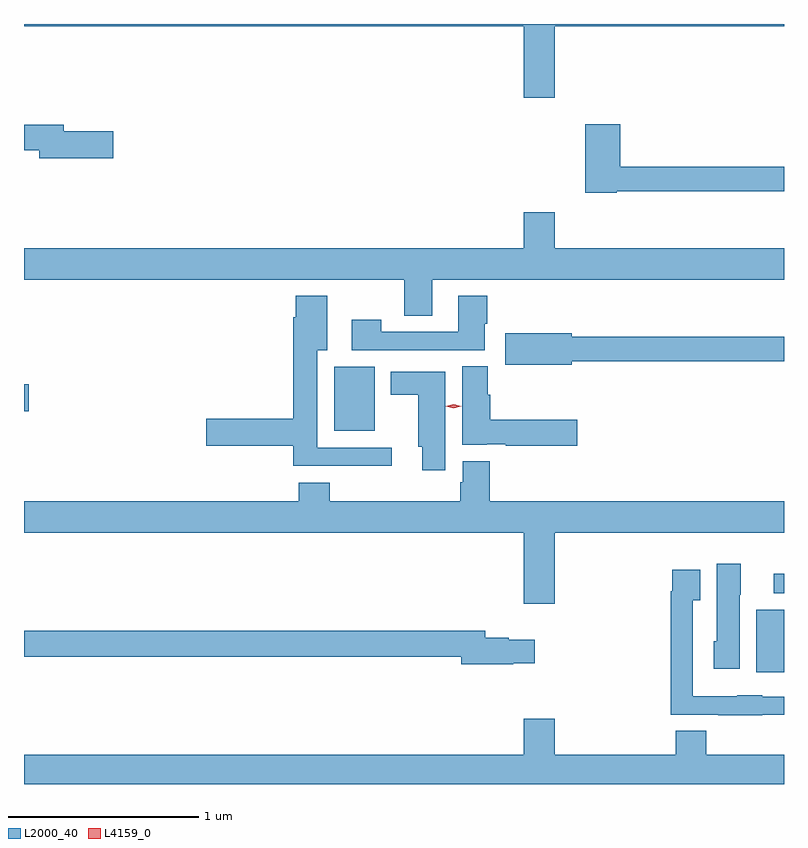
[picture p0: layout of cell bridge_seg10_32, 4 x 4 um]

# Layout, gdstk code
import gdstk
lib = gdstk.Library(unit=1e-6, precision=1e-09)
def R(c, l, rs):  # rectangles x0, y0, x1, y1
    for r in rs: c.add(gdstk.rectangle(r[:2], r[2:], *l))
def P(c, l, *ps):  # polygons
    for p in ps: c.add(gdstk.Polygon(p, *l))
L2000_40 = (2000, 40)
L4159_0 = (4159, 0)

bridge_seg10_32 = lib.new_cell('bridge_seg10_32')
R(bridge_seg10_32, L2000_40, [(945.452,1259.622,945.598,1259.949), (945.543,1260.036,945.598,1260.139), (943.232,1260.893,943.444,1261.228), (941.598,1260.994,941.623,1261.136)])
P(bridge_seg10_32, L2000_40, [(944.392,1263.02),(945.598,1263.02),(945.598,1263.033),(941.598,1263.033),(941.598,1263.02),(944.228,1263.02),(944.228,1262.646),(944.392,1262.646)],
  [(944.718,1262.154),(945.598,1262.154),(945.598,1262.282),(944.735,1262.282),(944.735,1262.506),(944.552,1262.506),(944.552,1262.146),(944.718,1262.146)],
  [(942.067,1262.468),(941.806,1262.468),(941.806,1262.504),(941.598,1262.504),(941.598,1262.368),(941.678,1262.368),(941.678,1262.326),(942.067,1262.326)],
  [(943.747,1261.688),(945.598,1261.688),(945.598,1261.852),(944.392,1261.852),(944.392,1262.041),(944.228,1262.041),(944.228,1261.852),(941.598,1261.852),(941.598,1261.688),(943.6,1261.688),(943.6,1261.498),(943.747,1261.498)],
  [(943.534,1260.804),(943.141,1260.804),(943.141,1261.316),(943.195,1261.316),(943.195,1261.603),(943.028,1261.603),(943.028,1261.49),(943.016,1261.49),(943.016,1260.956),(942.558,1260.956),(942.558,1260.814),(943.016,1260.814),(943.016,1260.707),(943.534,1260.707)],
  [(944.023,1261.455),(944.036,1261.455),(944.036,1261.603),(943.883,1261.603),(943.883,1261.413),(943.479,1261.413),(943.479,1261.477),(943.323,1261.477),(943.323,1261.317),(944.023,1261.317)],
  [(944.482,1261.258),(945.598,1261.258),(945.598,1261.387),(944.482,1261.387),(944.482,1261.405),(944.13,1261.405),(944.13,1261.24),(944.482,1261.24)],
  [(944.509,1260.951),(944.051,1260.951),(944.051,1261.082),(944.038,1261.082),(944.038,1261.232),(943.904,1261.232),(943.904,1260.818),(944.034,1260.818),(944.034,1260.821),(944.134,1260.821),(944.134,1260.814),(944.509,1260.814)],
  [(943.816,1261.204),(943.529,1261.204),(943.529,1261.082),(943.673,1261.082),(943.673,1260.807),(943.694,1260.807),(943.694,1260.684),(943.816,1260.684)],
  [(944.392,1260.356),(945.598,1260.356),(945.598,1260.52),(944.048,1260.52),(944.048,1260.733),(943.907,1260.733),(943.907,1260.621),(943.895,1260.621),(943.895,1260.52),(943.208,1260.52),(943.208,1260.619),(943.043,1260.619),(943.043,1260.52),(941.598,1260.52),(941.598,1260.356),(944.228,1260.356),(944.228,1259.982),(944.392,1259.982)],
  [(945.364,1260.03),(945.37,1260.03),(945.37,1260.193),(945.245,1260.193),(945.245,1259.784),(945.227,1259.784),(945.227,1259.64),(945.364,1259.64)],
  [(945.483,1259.397),(945.598,1259.397),(945.598,1259.493),(945.483,1259.493),(945.483,1259.5),(945.351,1259.5),(945.351,1259.494),(945.117,1259.494),(945.117,1259.999),(945.157,1259.999),(945.157,1260.16),(945.009,1260.16),(945.009,1260.047),(945.001,1260.047),(945.001,1259.397),(945.251,1259.397),(945.251,1259.396),(945.483,1259.396)],
  [(944.174,1259.669),(944.287,1259.669),(944.287,1259.791),(944.148,1259.791),(944.148,1259.804),(944.026,1259.804),(944.026,1259.84),(941.598,1259.84),(941.598,1259.704),(943.898,1259.704),(943.898,1259.662),(944.174,1259.662)],
  [(945.598,1259.188),(945.189,1259.188),(945.189,1259.312),(945.029,1259.312),(945.029,1259.188),(944.392,1259.188),(944.392,1259.377),(944.228,1259.377),(944.228,1259.188),(941.598,1259.188),(941.598,1259.033),(945.598,1259.033)])
P(bridge_seg10_32, L4159_0, [(943.859,1261.011),(943.819,1261.02),(943.818,1261.02),(943.819,1261.021),(943.859,1261.031),(943.9,1261.021),(943.9,1261.021),(943.9,1261.021)])

lib.write_gds('bridge_seg10_32.gds')
